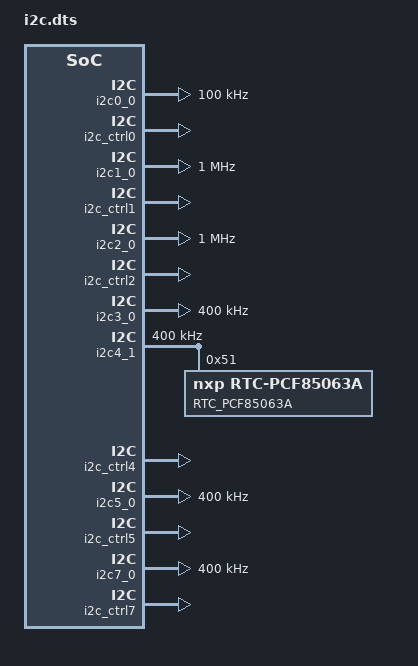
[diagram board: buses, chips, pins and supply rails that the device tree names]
/* Copyright 2021 The Chromium OS Authors. All rights reserved.
 * Use of this source code is governed by a BSD-style license that can be
 * found in the LICENSE file.
 */

/ {
	aliases {
		i2c-0 = &i2c0_0;
		i2c-1 = &i2c1_0;
		i2c-2 = &i2c2_0;
		i2c-3 = &i2c3_0;
		i2c-4 = &i2c4_1;
		i2c-5 = &i2c5_0;
		i2c-7 = &i2c7_0;
	};

	named-i2c-ports {
		compatible = "named-i2c-ports";

		i2c_power: power {
			i2c-port = <&i2c0_0>;
			remote-port = <0>;
			enum-name = "I2C_PORT_POWER";
		};
		battery {
			i2c-port = <&i2c0_0>;
			remote-port = <0>;
			enum-name = "I2C_PORT_BATTERY";
		};
		virtual-battery {
			i2c-port = <&i2c0_0>;
			remote-port = <0>;
			enum-name = "I2C_PORT_VIRTUAL_BATTERY";
		};
		i2c_charger: charger {
			i2c-port = <&i2c0_0>;
			remote-port = <0>;
			enum-name = "I2C_PORT_CHARGER";
		};
		i2c_tcpc0: tcpc0 {
			i2c-port = <&i2c1_0>;
			dynamic-speed;
			enum-name = "I2C_PORT_TCPC0";
		};
		i2c_tcpc1: tcpc1 {
			i2c-port = <&i2c2_0>;
			dynamic-speed;
			enum-name = "I2C_PORT_TCPC1";
		};
		rtc {
			i2c-port = <&i2c4_1>;
			enum-name = "I2C_PORT_RTC";
		};
		i2c_eeprom: eeprom {
			i2c-port = <&i2c5_0>;
			enum-name = "I2C_PORT_EEPROM";
		};
		i2c_sensor: sensor {
			i2c-port = <&i2c7_0>;
			enum-name = "I2C_PORT_SENSOR";
		};
		accel {
			i2c-port = <&i2c7_0>;
			enum-name = "I2C_PORT_ACCEL";
		};
	};


};

&i2c0_0 {
	label = "I2C_POWER";
	status = "okay";
	clock-frequency = <I2C_BITRATE_STANDARD>;
	pinctrl-0 = <&i2c0_0_sda_scl_gpb4_b5>;
	pinctrl-names = "default";
};

&i2c_ctrl0 {
	status = "okay";
};

&i2c1_0 {
	label = "I2C_USB_C0_PD";
	status = "okay";
	clock-frequency = <I2C_BITRATE_FAST_PLUS>;
	pinctrl-0 = <&i2c1_0_sda_scl_gp87_90>;
	pinctrl-names = "default";
};

&i2c_ctrl1 {
	status = "okay";
};

&i2c2_0 {
	label = "I2C_USB_C1_PD";
	status = "okay";
	clock-frequency = <I2C_BITRATE_FAST_PLUS>;
	pinctrl-0 = <&i2c2_0_sda_scl_gp91_92>;
	pinctrl-names = "default";
};

&i2c_ctrl2 {
	status = "okay";
};

&i2c3_0 {
	/* Not used as no WLC connected */
	clock-frequency = <I2C_BITRATE_FAST>;
};

&i2c4_1 {
	label = "I2C_RTC";
	status = "okay";
	clock-frequency = <I2C_BITRATE_FAST>;
	pinctrl-0 = <&i2c4_1_sda_scl_gpf2_f3>;
	pinctrl-names = "default";

	pcf85063a: pcf85063a@51 {
		compatible = "nxp,rtc-pcf85063a";
		reg = <0x51>;
		label = "RTC_PCF85063A";
		int-pin = <&gpio_rtc_ec_wake_odl>;
	};
};

&i2c_ctrl4 {
	status = "okay";
};

&i2c5_0 {
	label = "I2C_EEPROM";
	status = "okay";
	clock-frequency = <I2C_BITRATE_FAST>;
	pinctrl-0 = <&i2c5_0_sda_scl_gp33_36>;
	pinctrl-names = "default";
};

&i2c_ctrl5 {
	status = "okay";
};

&i2c7_0 {
	label = "I2C_SENSOR";
	status = "okay";
	clock-frequency = <I2C_BITRATE_FAST>;
	pinctrl-0 = <&i2c7_0_sda_scl_gpb2_b3>;
	pinctrl-names = "default";
};

&i2c_ctrl7 {
	status = "okay";
};
